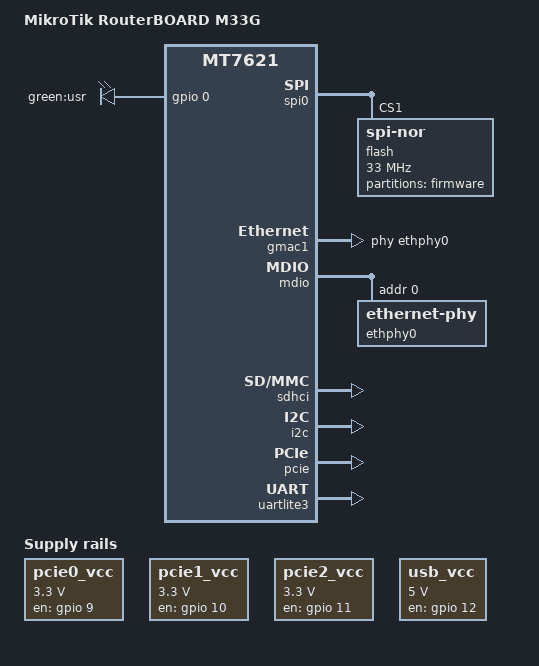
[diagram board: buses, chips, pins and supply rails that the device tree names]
#include "mt7621_mikrotik.dtsi"

/ {
	compatible = "mikrotik,routerboard-m33g", "mediatek,mt7621-soc";
	model = "MikroTik RouterBOARD M33G";

	aliases {
		led-boot = &led_usr;
		led-failsafe = &led_usr;
		led-running = &led_usr;
		led-upgrade = &led_usr;
	};

	leds {
		compatible = "gpio-leds";

		led_usr: usr {
			label = "green:usr";
			gpios = <&gpio 0 GPIO_ACTIVE_HIGH>;
		};
	};

	pcie0_vcc_reg {
		compatible = "regulator-fixed";
		regulator-name = "pcie0_vcc";

		regulator-min-microvolt = <3300000>;
		regulator-max-microvolt = <3300000>;
		gpio = <&gpio 9 GPIO_ACTIVE_HIGH>;
		enable-active-high;
		regulator-boot-on;
		regulator-always-on;
	};

	pcie1_vcc_reg {
		compatible = "regulator-fixed";
		regulator-name = "pcie1_vcc";

		regulator-min-microvolt = <3300000>;
		regulator-max-microvolt = <3300000>;
		gpio = <&gpio 10 GPIO_ACTIVE_HIGH>;
		enable-active-high;
		regulator-boot-on;
		regulator-always-on;
	};

	pcie2_vcc_reg {
		compatible = "regulator-fixed";
		regulator-name = "pcie2_vcc";

		regulator-min-microvolt = <3300000>;
		regulator-max-microvolt = <3300000>;
		gpio = <&gpio 11 GPIO_ACTIVE_HIGH>;
		enable-active-high;
		regulator-boot-on;
		regulator-always-on;
	};

	usb_vcc_reg {
		compatible = "regulator-fixed";
		regulator-name = "usb_vcc";

		regulator-min-microvolt = <5000000>;
		regulator-max-microvolt = <5000000>;
		gpio = <&gpio 12 GPIO_ACTIVE_HIGH>;
		enable-active-high;
		regulator-always-on;
	};
};

&spi0 {
	flash@1 {
		compatible = "jedec,spi-nor";
		reg = <1>;
		spi-max-frequency = <33000000>;

		partitions {
			compatible = "fixed-partitions";
			#address-cells = <1>;
			#size-cells = <1>;

			// Region <0x0 0x40000> seems reserved by OEM

			partition@40000 {
				compatible = "mikrotik,minor";
				label = "firmware";
				reg = <0x040000 0xfc0000>;
			};
		};
	};
};

&gmac1 {
	status = "okay";
	label = "wan";
	phy-handle = <&ethphy0>;
};

&mdio {
	ethphy0: ethernet-phy@0 {
		reg = <0>;
	};
};

&switch0 {
	ports {
		port@1 {
			status = "okay";
			label = "lan1";
		};

		port@2 {
			status = "okay";
			label = "lan2";
		};
	};
};

&state_default {
	gpio {
		groups = "uart2", "wdt";
		function = "gpio";
	};
};

&sdhci {
	status = "okay";
};

&i2c {
	status = "okay";
};

&pcie {
	status = "okay";
};

&uartlite3 {
	status = "okay";
};
